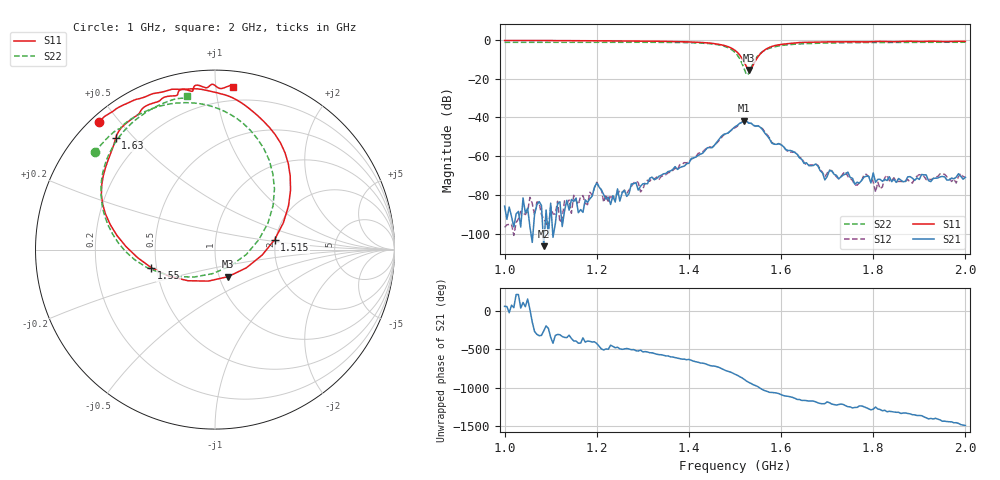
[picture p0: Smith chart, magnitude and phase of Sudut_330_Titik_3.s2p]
# Hz S RI R 50
! CMT, C1220, 16058040, 17.2.0/1
! Date: 14/08/2018 12:41:47
! Data: Format (Calibration Info)
! Freq  S11: Re/Im (F2)  S21: Re/Im (F2)  S12: Re/Im (F2)  S22: Re/Im (F2)
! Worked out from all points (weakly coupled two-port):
!   201 points, 1 GHz to 2 GHz, reference 50 ohm
!   highest |S21| = -41.68 dB at 1.52 GHz (marker M1); lowest = -106.4 dB at 1.085 GHz (marker M2)
!   lowest |S11| = -15.5 dB at 1.53 GHz (marker M3), VSWR 1.40, Z = 55 - j17.1 ohm
!   |S11| at or under -10 dB: 1.516 GHz to 1.546 GHz (30.15 MHz wide, 1.97 % of centre)
!   |S22| runs from -18.0 to -1.2 dB; largest |S21 - S12| = 0.00039
!   S11 on the Smith chart (normalised r, x): 1 GHz: 0.02, +0.44; 1.515 GHz: 1.97, +0.24; 1.55 GHz: 0.47, -0.11; 1.63 GHz: 0.11, +0.44; 2 GHz: 0.10, +1.11
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1e9  -0.6481 0.7133  2.99e-05 4.18e-05  1.06e-05 9.96e-06  -0.6706 0.5417
1.085e9  -0.5609 0.7765  -6.05e-07 4.73e-06  -2.26e-05 8.73e-06  -0.6208 0.5994
1.17e9  -0.4739 0.8221  3.53e-05 4.34e-06  9.58e-05 -1.16e-05  -0.5582 0.6591
1.2e9  -0.4328 0.8383  8.15e-05 -0.000186  5.15e-05 -0.000206  -0.5293 0.6729
1.215e9  -0.4163 0.8422  -8.81e-05 -5.22e-05  -6.29e-05 -1.53e-05  -0.5234 0.6809
1.265e9  -0.3368 0.8708  -5.98e-05 -6.94e-05  -4.13e-05 -0.000101  -0.4737 0.7234
1.335e9  -0.2122 0.893  -0.000263 0.000153  -0.00023 0.000104  -0.3735 0.7762
1.45e9  0.1838 0.7913  0.00165 8.46e-05  0.00168 -3.14e-05  0.019 0.7849
1.5e9  0.4208 0.3313  -0.00142 -0.00559  -0.00127 -0.00527  0.3314 0.3376
1.515e9  0.332 0.0549  -0.00645 -0.00373  -0.0064 -0.00398  0.2439 0.0551
1.52e9  0.2626 -0.0305  -0.00812 -0.00142  -0.00822 -0.00157  0.174 -0.0276
1.53e9  0.0725 -0.1509  -0.00616 0.00348  -0.00624 0.00352  -0.0137 -0.1341
1.55e9  -0.3542 -0.1015  -0.000391 0.00603  -0.000582 0.00608  -0.3821 -0.0983
1.63e9  -0.5536 0.6209  0.000706 -0.00102  0.000793 -0.000988  -0.6154 0.4652
1.67e9  -0.4385 0.7453  -1.47e-05 -0.000575  3.02e-05 -0.000588  -0.5634 0.5832
1.695e9  -0.4048 0.7852  -0.000136 -0.000203  -0.000132 -0.000257  -0.5307 0.6314
1.74e9  -0.3032 0.8341  -0.000302 -0.000165  -0.000379 -0.000135  -0.4707 0.698
1.76e9  -0.2654 0.8534  -0.000188 -2.14e-05  -0.000167 -6.4e-05  -0.4461 0.7194
1.785e9  -0.21 0.8608  -0.000303 -1.28e-05  -0.000341 -1.27e-05  -0.4146 0.7435
1.805e9  -0.1989 0.8868  -0.000208 -4.11e-05  -1.74e-05 0.000116  -0.3903 0.761
1.835e9  -0.1337 0.8828  -0.000215 0.000201  -0.000149 0.000177  -0.3549 0.7824
2e9  0.1013 0.9068  0.000194 -0.000206  0.000219 -0.000186  -0.1558 0.8541
